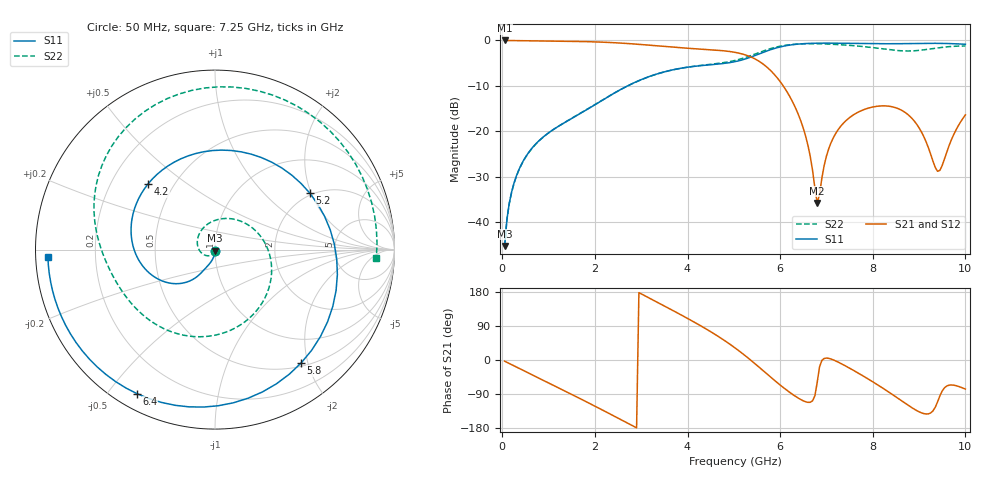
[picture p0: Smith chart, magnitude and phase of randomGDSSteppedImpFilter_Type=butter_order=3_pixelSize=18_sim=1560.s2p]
! freq	dB(S11)	phase(S11)	dB(S12)	phase(S12)
!  dB(S21)	phase(S21)	dB(S22)	phase(S22)
!S-par simulation data
#  GHz  S  DB  R 50
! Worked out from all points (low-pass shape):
!   200 points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, 50 MHz to 10 GHz, reference 50 ohm
!   highest |S21| = -0.01 dB at 50 MHz (marker M1); lowest = -35.8 dB at 6.8 GHz (marker M2)
!   |S21| within 3 dB of the highest: start of sweep to 5.19 GHz
!   lowest |S11| = -45.2 dB at 50 MHz (marker M3), VSWR 1.01, Z = 50 - j0.548 ohm
!   |S11| at or under -10 dB: start of sweep to 2.706 GHz
!   |S22| runs from -45.3 to -0.7 dB; largest |S21 - S12| = 0
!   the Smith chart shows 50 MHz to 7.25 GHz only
!   S11 on the Smith chart (normalised r, x): 50 MHz: 1.00, -0.01; 4.2 GHz: 0.36, +0.36; 5.2 GHz: 1.94, +1.96; 5.8 GHz: 0.55, -1.89; 6.4 GHz: 0.06, -0.59; 7.25 GHz: 0.04, -0.02
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0.05  -45.22 -87.4  -0.01 -3.1  -0.01 -3.1  -45.26 -91.1
0.2  -33.40 -94.6  -0.02 -12.1  -0.02 -12.1  -33.48 -108.2
0.45  -26.55 -101.9  -0.05 -27.2  -0.05 -27.2  -26.63 -133.0
1.15  -19.29 -115.7  -0.13 -69.4  -0.13 -69.4  -19.28 155.1
1.75  -15.69 -122.0  -0.25 -106.2  -0.25 -106.2  -15.65 87.9
2.6  -10.56 -140.3  -0.61 -159.8  -0.61 -159.8  -10.57 -0.5
3.4  -7.19 -175.0  -1.24 149.0  -1.24 149.0  -7.21 -67.8
4.2  -5.64 135.4  -1.85 96.2  -1.85 96.2  -5.60 -123.1
5.05  -4.62 50.7  -2.67 29.7  -2.67 29.7  -4.34 -172.4
5.2  -4.22 30.8  -3.03 15.8  -3.03 15.8  -3.91 178.9
5.5  -3.15 -11.6  -4.31 -14.3  -4.31 -14.3  -2.84 159.1
5.8  -2.01 -52.7  -6.69 -45.7  -6.69 -45.7  -1.78 135.0
6.4  -0.79 -118.4  -16.48 -101.2  -16.48 -101.2  -0.78 79.1
6.7  -0.63 -142.6  -28.59 -107.7  -28.59 -107.7  -0.71 50.4
6.8  -0.61 -149.7  -35.76 -59.4  -35.76 -59.4  -0.73 40.8
7.25  -0.61 -177.4  -19.67 -5.4  -19.67 -5.4  -0.91 -2.8
7.9  -0.70 150.4  -14.90 -50.1  -14.90 -50.1  -1.47 -71.2
8.35  -0.73 130.8  -14.47 -85.1  -14.47 -85.1  -2.02 -129.0
8.75  -0.70 113.9  -16.23 -118.4  -16.23 -118.4  -2.32 167.9
9.2  -0.64 94.5  -23.58 -142.2  -23.58 -142.2  -1.93 93.0
9.45  -0.65 83.4  -28.58 -94.4  -28.58 -94.4  -1.57 56.9
10  -0.85 58.0  -16.39 -76.8  -16.39 -76.8  -1.23 -4.3
